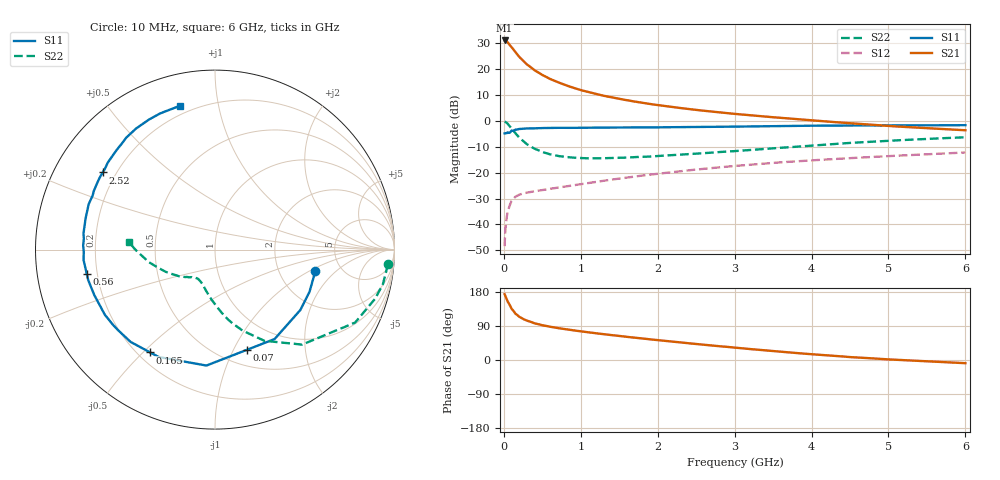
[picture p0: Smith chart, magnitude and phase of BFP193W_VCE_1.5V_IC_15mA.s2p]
! Infineon Technologies  Discrete & RF Semiconductors
! BFP193W
! VCE = 1.5 V,  IC =  15 mA
! Common Emitter S-Parameters:  Jan 2016
# GHz  S  MA  R  50
!  f  S11  S21  S12  S22
! GHz  MAG  ANG  MAG  ANG  MAG  ANG  MAG  ANG
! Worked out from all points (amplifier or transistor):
!   210 points, 10 MHz to 6 GHz, reference 50 ohm
!   highest |S21| = 31.0 dB at 10 MHz (marker M1)
!   |S21| within 3 dB of that: start of sweep to 111.9 MHz
!   unconditionally stable (mu >= 1): 1.011 GHz to 4.402 GHz
!   at 185 MHz: K = 0.29, MSG = 27.0 dB, |S12| = -28.8 dB
!   at 1.52 GHz: K = 1.12, MAG = 13.2 dB, |S12| = -22.2 dB
!   at 6 GHz: K = 0.94, MSG = 4.3 dB, |S12| = -12.2 dB
!   S11 on the Smith chart (normalised r, x): 10 MHz: 3.23, -1.14; 70 MHz: 0.67, -1.13; 165 MHz: 0.25, -0.53; 560 MHz: 0.16, -0.09; 2.52 GHz: 0.15, +0.30; 6 GHz: 0.15, +0.77
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0.01  0.5719 -12.0  35.66 173.7  0.0038 84.7  0.9672 -4.9
0.02  0.5768 -24.1  35.42 169.2  0.0078 79.5  0.9552 -11.6
0.03  0.5825 -35.3  34.81 164.0  0.0112 76.4  0.9334 -17.0
0.05  0.5988 -56.3  32.79 154.2  0.0176 67.3  0.8803 -27.5
0.07  0.5858 -72.1  29.95 147.6  0.0218 59.5  0.8042 -34.5
0.1  0.6478 -94.2  26.62 135.4  0.0285 52.3  0.7182 -47.5
0.15  0.6756 -117.7  21.25 122.4  0.0342 43.4  0.5775 -61.6
0.165  0.6772 -122.2  20 120.3  0.0351 42.0  0.5457 -64.1
0.2  0.6968 -132.4  17.23 114.1  0.0374 39.0  0.4766 -71.2
0.26  0.7063 -143.7  14 107.3  0.0399 35.8  0.3967 -79.4
0.3  0.713 -149.4  12.28 103.6  0.0411 34.8  0.3535 -84.0
0.4  0.7187 -159.4  9.463 96.8  0.0437 34.3  0.289 -92.5
0.56  0.727 -169.4  6.938 89.5  0.0476 36.2  0.2354 -102.1
0.8  0.7312 -179.1  4.887 81.1  0.0542 40.5  0.201 -111.5
1.02  0.734 174.9  3.856 75.2  0.0606 43.7  0.1906 -117.7
1.4  0.742 166.1  2.841 65.7  0.0732 47.4  0.191 -124.6
2.02  0.7502 154.1  1.997 52.0  0.096 49.9  0.2105 -132.7
2.52  0.7586 145.5  1.614 41.9  0.1153 49.7  0.2333 -139.9
3.1  0.7763 136.1  1.322 30.9  0.1382 47.7  0.2669 -148.4
4.1  0.806 121.9  0.994 13.8  0.1761 42.5  0.34 -163.7
5.1  0.8179 111.2  0.779 0.6  0.2119 36.7  0.4196 -176.7
6  0.8245 103.8  0.658 -8.4  0.2449 31.6  0.4816 174.9
